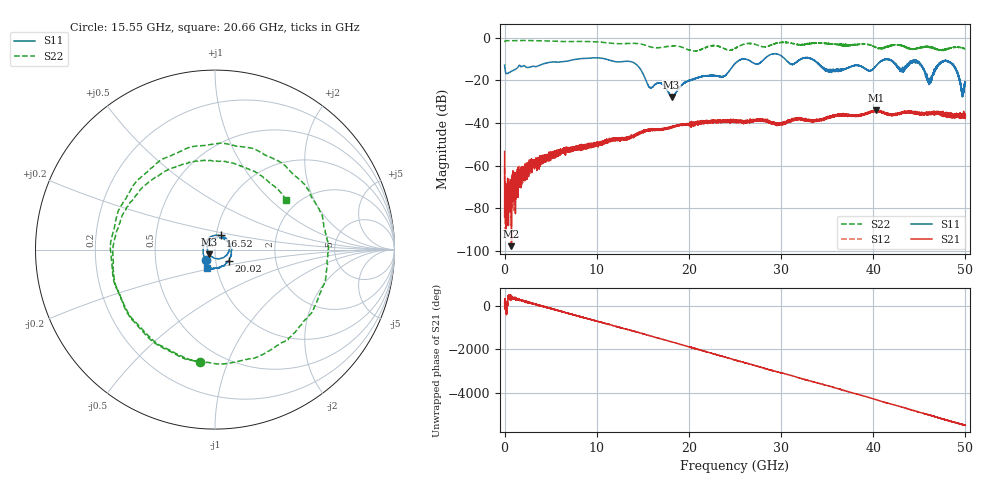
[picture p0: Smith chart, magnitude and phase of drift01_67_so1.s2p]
!Created with skrf (http://scikit-rf.org).
# Hz S RI R 50.0
!freq ReS11 ImS11 ReS21 ImS21 ReS12 ImS12 ReS22 ImS22
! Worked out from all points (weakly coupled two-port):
!   10001 points, 300 kHz to 50 GHz, reference 50 ohm
!   highest |S21| = -33.90 dB at 40.28 GHz (marker M1); lowest = -97.8 dB at 745.3 MHz (marker M2)
!   lowest |S11| = -27.9 dB at 18.11 GHz (marker M3), VSWR 1.08, Z = 47 - j2.45 ohm
!   |S11| at or under -10 dB: start of sweep to 8.07 GHz; 10.9 GHz to 25.89 GHz (14.99 GHz wide, 81.5 % of centre); 33.36 GHz to end of sweep (the widest 3 of 13)
!   |S22| runs from -6.4 to -1.4 dB; largest |S21 - S12| = 0.0044
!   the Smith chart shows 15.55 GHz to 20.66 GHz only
!   S11 on the Smith chart (normalised r, x): 15.55 GHz: 0.90, -0.11; 16.52 GHz: 1.05, +0.17; 20.02 GHz: 1.16, -0.14; 20.66 GHz: 0.90, -0.18
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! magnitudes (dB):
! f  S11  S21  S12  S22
! 300 kHz  -12.9  -53.4  -61.2  -2.1
! 255.3 MHz  -16.9  -81.1  -82.7  -1.4
! 745.3 MHz  -15.8  -97.8  -69.4  -1.5
! 3 GHz  -13.5  -59.6  -58.7  -1.4
! 8.335 GHz  -9.9  -50.0  -52.2  -1.8
! 13.86 GHz  -11.5  -46.2  -46.2  -2.7
! 15.55 GHz  -22.1  -43.3  -43.7  -4.0
! 16.52 GHz  -21.5  -43.1  -43.1  -4.8
! 16.67 GHz  -21.2  -42.9  -43.3  -4.8
! 18.11 GHz  -27.9  -42.0  -41.8  -4.0
! 20.02 GHz  -20.2  -41.0  -41.2  -5.9
! 20.66 GHz  -19.2  -40.2  -39.7  -6.3
! 25 GHz  -12.2  -38.8  -39.3  -5.0
! 33.34 GHz  -10.1  -39.2  -38.9  -2.7
! 35.31 GHz  -15.5  -37.5  -37.1  -2.9
! 40.28 GHz  -13.5  -33.9  -34.2  -4.5
! 41.67 GHz  -10.2  -35.7  -35.8  -4.3
! 43.1 GHz  -15.1  -35.3  -35.6  -3.7
! 44.8 GHz  -11.7  -35.3  -35.6  -5.0
! 46.1 GHz  -21.4  -35.4  -35.4  -4.4
! 48.04 GHz  -11.2  -35.5  -36.1  -5.4
! 50 GHz  -21.2  -37.0  -36.0  -5.3
